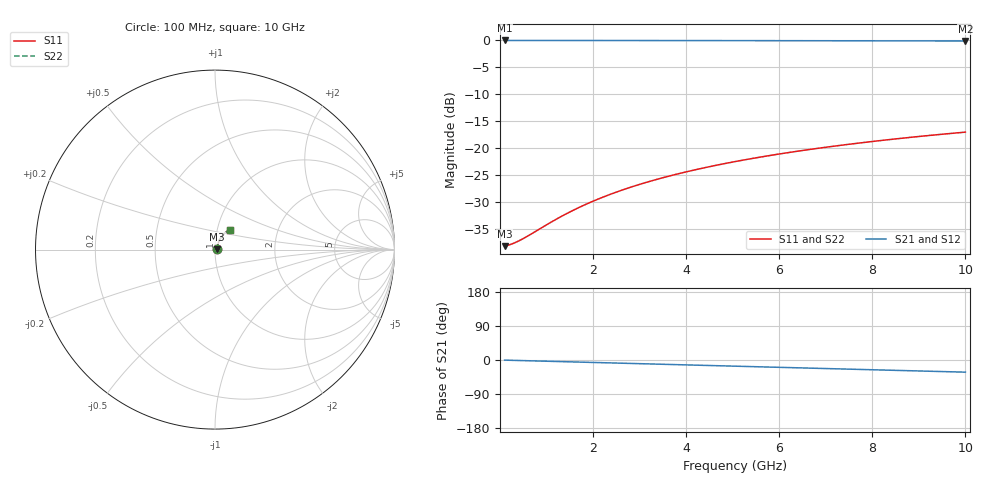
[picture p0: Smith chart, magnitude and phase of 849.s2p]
# Hz S RI R 50.00
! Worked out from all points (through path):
!   100 points, 100 MHz to 10 GHz, reference 50 ohm
!   highest |S21| = -0.11 dB at 100 MHz (marker M1); lowest = -0.2 dB at 10 GHz (marker M2)
!   group delay of S21, straight-line fit = 8.92 ps
!   lowest |S11| = -38.1 dB at 100 MHz (marker M3), VSWR 1.03, Z = 51.2 + j0.145 ohm
!   |S11| at or under -10 dB: start of sweep to end of sweep
!   |S22| runs from -38.1 to -17.1 dB; largest |S21 - S12| = 0
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1e8  0.0123 0.00142  0.9877 -0.00557  0.9877 -0.00557  0.0123 0.00142
2e8  0.0124 0.00283  0.9875 -0.0111  0.9875 -0.0111  0.0124 0.00283
3e8  0.0125 0.00425  0.9874 -0.0167  0.9874 -0.0167  0.0125 0.00425
4e8  0.0126 0.00566  0.9872 -0.0223  0.9872 -0.0223  0.0126 0.00566
6e8  0.0129 0.00849  0.9868 -0.0334  0.9868 -0.0334  0.0129 0.00849
1e9  0.0135 0.0141  0.9856 -0.0556  0.9856 -0.0556  0.0135 0.0141
1.3e9  0.0141 0.0183  0.9844 -0.0722  0.9844 -0.0722  0.0141 0.0183
1.5e9  0.0146 0.0211  0.9834 -0.0833  0.9834 -0.0833  0.0146 0.0211
1.8e9  0.0154 0.0253  0.9817 -0.0999  0.9817 -0.0999  0.0154 0.0253
2.1e9  0.0164 0.0294  0.9797 -0.1165  0.9797 -0.1165  0.0164 0.0294
2.5e9  0.0179 0.0348  0.9766 -0.1385  0.9766 -0.1385  0.0179 0.0348
2.9e9  0.0197 0.0402  0.9729 -0.1604  0.9729 -0.1604  0.0197 0.0402
3.4e9  0.0222 0.0468  0.9676 -0.1876  0.9676 -0.1876  0.0222 0.0468
3.8e9  0.0245 0.0519  0.9628 -0.2092  0.9628 -0.2092  0.0245 0.0519
4.2e9  0.027 0.057  0.9575 -0.2307  0.9575 -0.2307  0.027 0.057
4.6e9  0.0298 0.0619  0.9517 -0.2521  0.9517 -0.2521  0.0298 0.0619
5.1e9  0.0335 0.0679  0.9437 -0.2785  0.9437 -0.2785  0.0335 0.0679
5.9e9  0.0402 0.0769  0.9294 -0.3202  0.9294 -0.3202  0.0402 0.0769
6.7e9  0.0476 0.0853  0.9132 -0.3611  0.9132 -0.3611  0.0476 0.0853
7.5e9  0.0557 0.093  0.8951 -0.4011  0.8951 -0.4011  0.0557 0.093
8.4e9  0.0657 0.1007  0.8726 -0.4448  0.8726 -0.4448  0.0657 0.1007
1e10  0.085 0.1118  0.8274 -0.5191  0.8274 -0.5191  0.085 0.1118
